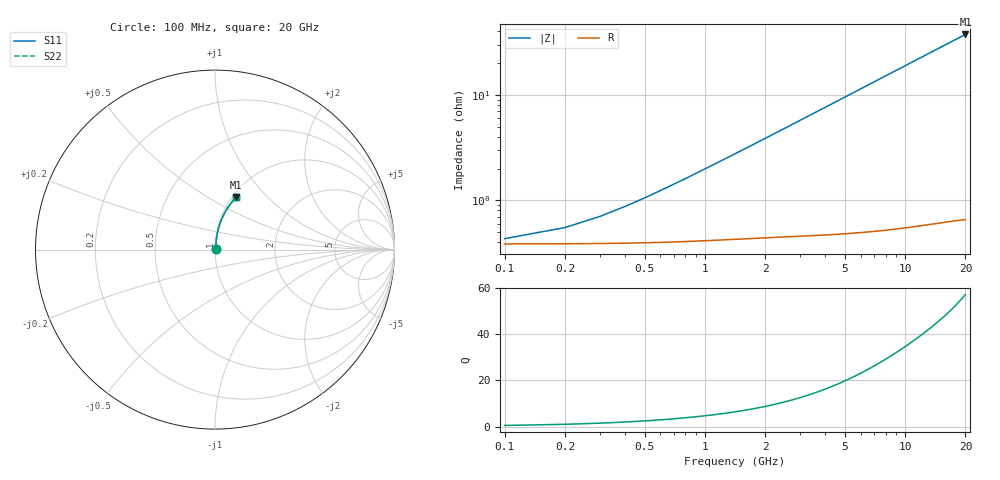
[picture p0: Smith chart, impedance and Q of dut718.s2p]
! Touchstone file exported from HFSS 2024.1.0
!  File:  C:/UserFiles/LocalFiles/RDL_TSV_Batchsim/temp_RDL_bottom_718_1779858327.aedt
!  Generated:  01:08:17 PM May 27, 2026
!  Design:  RDL_bottom
!  Project:  temp_RDL_bottom_718_1779858327
!  Setup:  Setup1
!  Solution:  Sweep
! Variables:
!  dtsv = 10.80580581um
!  hbump = 3um
!  htsv = 65.08um
!  ldown = 216.65um
!  lrdl = 100um
!  p = 40
!  p1 = 53.32um
!  rhole = 1um
!  t = 450um
!  tdown = 2.06um
!  trdl = 3.915915916um
!  wdown = 10.37um
!  wrdl = 20um
# GHz S MA R 50.000000
! Terminal data exported
! Port[1] = RDL1_T1
! Port[2] = RDL1_T2
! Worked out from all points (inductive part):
!   200 points, 100 MHz to 20 GHz, reference 50 ohm
!   read as one part in series: L = 308 pH near 700 MHz
!   highest Q = 57.3 at 20 GHz (marker M1), where L = 298 pH
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0.1  0.004184 23.6  0.9962 -0.1  0.9962 -0.1  0.004184 23.6
! Gamma 0 0 0 0
! Port Impedance 50 0 50 0
0.4  0.007758 59.5  0.9961 -0.5  0.9961 -0.5  0.007758 59.5
0.5  0.00925 64.4  0.996 -0.6  0.996 -0.6  0.00925 64.4
0.6  0.01079 67.9  0.996 -0.8  0.996 -0.8  0.01079 67.9
0.7  0.01235 70.5  0.9959 -0.9  0.9959 -0.9  0.01235 70.5
0.9  0.01552 74.0  0.9957 -1.1  0.9957 -1.1  0.01552 74.0
1.2  0.02031 77.1  0.9955 -1.5  0.9955 -1.5  0.02031 77.1
1.4  0.02352 78.4  0.9953 -1.8  0.9953 -1.8  0.02352 78.4
1.7  0.02834 79.7  0.995 -2.1  0.995 -2.1  0.02834 79.7
2.2  0.0364 81.1  0.9945 -2.7  0.9945 -2.7  0.0364 81.1
2.8  0.0461 81.9  0.9937 -3.5  0.9937 -3.5  0.04611 81.9
3.5  0.05747 82.3  0.9926 -4.3  0.9926 -4.3  0.05747 82.3
4.2  0.06887 82.3  0.9913 -5.2  0.9913 -5.2  0.06888 82.3
5  0.08194 82.1  0.9897 -6.1  0.9897 -6.1  0.08194 82.1
5.9  0.09666 81.6  0.9875 -7.2  0.9875 -7.2  0.09666 81.6
6.8  0.1114 81.0  0.9851 -8.3  0.9851 -8.3  0.1114 81.0
8.3  0.1359 79.8  0.9805 -10.0  0.9805 -10.0  0.1359 79.8
10.1  0.1651 78.1  0.9743 -12.1  0.9743 -12.1  0.1651 78.1
11.7  0.1907 76.6  0.9681 -13.9  0.9681 -13.9  0.1907 76.6
13.4  0.2175 74.8  0.961 -15.8  0.961 -15.8  0.2175 74.8
16.7  0.2679 71.4  0.9457 -19.4  0.9457 -19.4  0.2679 71.4
20  0.3156 68.0  0.9288 -22.9  0.9288 -22.9  0.3157 68.0
